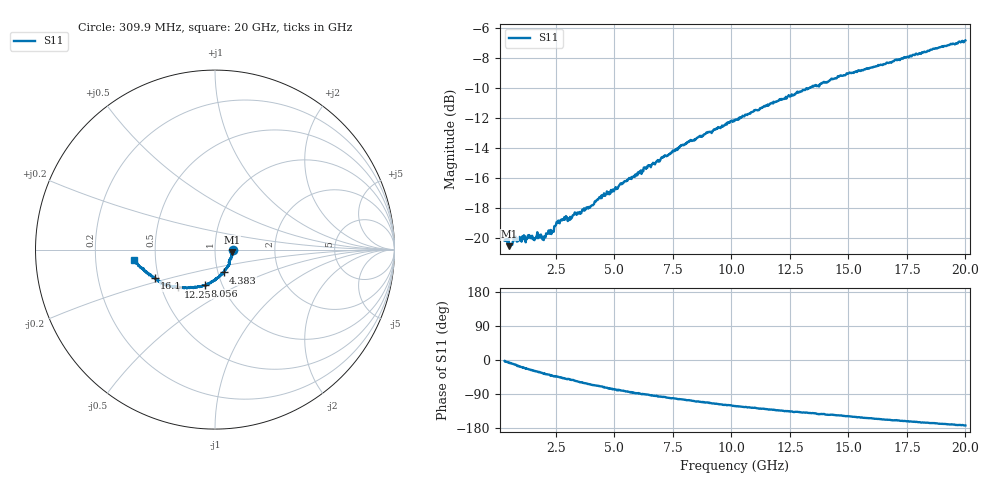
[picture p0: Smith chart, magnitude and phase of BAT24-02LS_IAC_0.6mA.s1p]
! Infineon Technologies  Discrete & RF Semiconductors
! BAT24-02LS
! IAC = 0.6 mA
! One-Port S-Parameters
# Hz  S  MA  R  50
!f  S11
!Hz  Mag  Ang
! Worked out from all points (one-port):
!   789 points, 309.9 MHz to 20 GHz, reference 50 ohm
!   lowest |S11| = -20.6 dB at 509.8 MHz (marker M1), VSWR 1.21, Z = 60.2 - j1.61 ohm
!   |S11| at or under -10 dB: start of sweep to 13.33 GHz
!   S11 on the Smith chart (normalised r, x): 309.9 MHz: 1.22, -0.01; 4.383 GHz: 1.06, -0.28; 8.056 GHz: 0.83, -0.35; 12.25 GHz: 0.61, -0.28; 16.1 GHz: 0.48, -0.17; 20 GHz: 0.37, -0.05
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3.0985e8  0.09778 -2.6
5.0975e8  0.09368 -8.1
5.847125e8  0.09471 -8.9
7.846125e8  0.1007 -12.2
1.584212e9  0.0981 -29.1
1.784112e9  0.1022 -31.5
1.984012e9  0.09817 -35.2
2.158925e9  0.1032 -38.4
2.333838e9  0.1053 -40.8
2.533738e9  0.1128 -43.3
2.783612e9  0.1151 -48.1
3.083462e9  0.1147 -51.6
3.283362e9  0.1198 -54.4
4.008e9  0.1277 -65.5
4.382812e9  0.1362 -69.4
5.232388e9  0.1504 -80.0
7.70615e9  0.1971 -103.3
8.055975e9  0.207 -105.2
1.015492e10  0.2477 -121.4
1.225388e10  0.291 -134.7
1.262869e10  0.2998 -136.7
1.352824e10  0.3222 -140.6
1.372814e10  0.3206 -143.2
1.390305e10  0.3293 -142.9
1.507746e10  0.3558 -148.6
1.610195e10  0.3724 -154.8
1.755122e10  0.4029 -161.3
2e10  0.4564 -172.8
